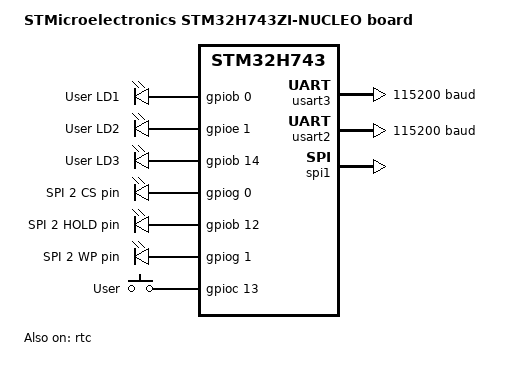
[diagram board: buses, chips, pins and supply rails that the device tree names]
/*
 * Copyright (c) 2020 Teslabs Engineering S.L.
 *
 * SPDX-License-Identifier: Apache-2.0
 */

/dts-v1/;
#include <st/h7/stm32h743Xi.dtsi>
#include "arduino_r3_connector.dtsi"

/ {
	model = "STMicroelectronics STM32H743ZI-NUCLEO board";
	compatible = "st,stm32h743zi-nucleo", "st,stm32h743";

	chosen {
		zephyr,console = &usart2;
		zephyr,shell-uart = &usart2;
		zephyr,sram = &sram0;
		zephyr,flash = &flash0;
		zephyr,dtcm = &dtcm;
	};

	leds {
		compatible = "gpio-leds";
		green_led: led_0 {
			gpios = <&gpiob 0 GPIO_ACTIVE_HIGH>;
			label = "User LD1";
		};
		yellow_led: led_1 {
			gpios = <&gpioe 1 GPIO_ACTIVE_HIGH>;
			label = "User LD2";
		};
		red_led: led_2 {
			gpios = <&gpiob 14 GPIO_ACTIVE_HIGH>;
			label = "User LD3";
		};
		SPI2_CSpin: gpio_00 {
			gpios = <&gpiog 0 GPIO_ACTIVE_HIGH>;
			label = "SPI 2 CS pin";
		};
		SPI2_HOLDpin: gpio_01 {
			gpios = <&gpiob 12 GPIO_ACTIVE_HIGH>;
			label = "SPI 2 HOLD pin";
		};
		SPI2_WPpin: gpio_02 {
			gpios = <&gpiog 1 GPIO_ACTIVE_HIGH>;
			label = "SPI 2 WP pin";
		};
	};

	gpio_keys {
		compatible = "gpio-keys";
		user_button: button_0 {
			label = "User";
			gpios = <&gpioc 13 GPIO_ACTIVE_HIGH>;
		};
	};

	aliases {
		led0 = &green_led;
		led1 = &yellow_led;
		led2 = &red_led;
		sw0 = &user_button;
        spi2cs = &SPI2_CSpin;
        spi2hd = &SPI2_HOLDpin;
        spi2wp = &SPI2_WPpin;
	};
};

&usart3 {
	current-speed = <115200>;
	status = "okay";
};

&usart2 {
	current-speed = <115200>;
	status = "okay";
};

&rtc {
	status = "okay";
};

&spi1 {
	status = "okay";
};
